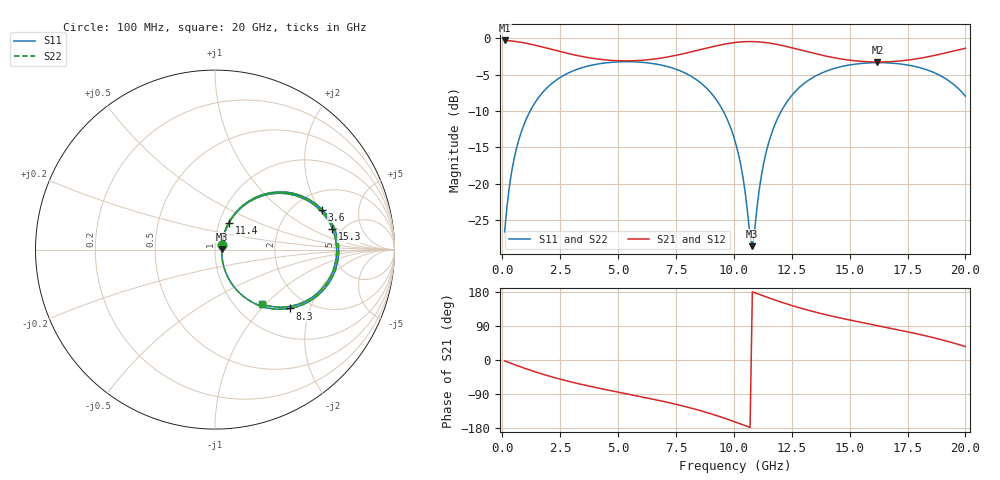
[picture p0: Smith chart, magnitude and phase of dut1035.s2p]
! Touchstone file exported from HFSS 2026.1.0
!  File:  C:/ffzhzh/LocalFiles/Ansys_Project_Files/temp_train_TSV_RDL_1035_1783294648_38704.aedt
!  Generated:  07:52:23 AM Jul  6, 2026
!  Design:  TSV_RDL
!  Project:  temp_train_TSV_RDL_1035_1783294648_38704
! Variables:
!  h_bsmrdl = 2.6um
!  h_ox = 20um
!  h_rdl = 5um
!  h_sub = 50.52um
!  h_tmrdl = 4.42um
!  h_tsv = 50.52um
!  h_via = 3um
!  l_bsmrdl = 940.11um
!  l_sub = 6062.44um
!  l_tmrdl = 685.62um
!  m_sub = 200um
!  pitch = 58.16um
!  r_tsv = 6.22um
!  s_tmrdl = 10um
!  w_bsmrdl = 16.18um
!  w_sub = 500um
!  w_tmrdl = 17.03um
!  x_tsv_center1 = 694.135um
!  x_tsv_center2 = 1650.425um
!  x_tsv_center3 = 2353.075um
!  x_tsv_center4 = 3309.365um
!  x_tsv_center5 = 4012.015um
!  x_tsv_center6 = 4968.305um
# GHz S MA R 50.000000
! Terminal data exported
! Port[1] = TM_RDL1_1_T1
! Port[2] = TM_RDL5_1_T1
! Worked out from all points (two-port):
!   200 points, 100 MHz to 20 GHz, reference 50 ohm
!   highest |S21| = -0.33 dB at 100 MHz (marker M1); lowest = -3.3 dB at 16.2 GHz (marker M2)
!   |S21| within 3 dB of the highest: start of sweep to end of sweep
!   lowest |S11| = -28.5 dB at 10.8 GHz (marker M3), VSWR 1.08, Z = 53.9 + j0.317 ohm
!   |S11| at or under -10 dB: start of sweep to 1.202 GHz; 9.539 GHz to 12.05 GHz (2.512 GHz wide, 23.3 % of centre)
!   |S22| runs from -28.6 to -3.2 dB; largest |S21 - S12| = 1.7e-14
!   S11 on the Smith chart (normalised r, x): 100 MHz: 1.08, +0.06; 3.6 GHz: 2.80, +2.10; 8.3 GHz: 1.60, -1.46; 11.4 GHz: 1.11, +0.34; 15.3 GHz: 4.20, +1.75; 20 GHz: 1.32, -0.95
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0.1  0.04699 36.2  0.9629 -2.4  0.9629 -2.4  0.04699 36.2
! Gamma 0 0 0 0
! Port Impedance 50 0 50 0
0.5  0.1464 62.8  0.9508 -11.6  0.9508 -11.6  0.1464 62.8
1.1  0.2934 57.5  0.9168 -24.7  0.9168 -24.7  0.2934 57.5
2.2  0.4973 40.2  0.8312 -45.6  0.8312 -45.6  0.4973 40.2
3.5  0.6304 21.8  0.7447 -65.5  0.7447 -65.5  0.6304 21.8
3.6  0.6369 20.5  0.7397 -66.9  0.7397 -66.9  0.6369 20.5
5.2  0.6885 1.3  0.698 -87.1  0.698 -87.1  0.6885 1.3
6.8  0.6561 -17.7  0.727 -107.1  0.727 -107.1  0.6561 -17.7
8.3  0.5296 -38.2  0.8141 -129.3  0.8141 -129.3  0.5296 -38.2
9.4  0.3461 -55.8  0.8956 -149.6  0.8956 -149.6  0.3461 -55.8
10.1  0.1849 -64.7  0.9342 -164.5  0.9342 -164.5  0.1849 -64.8
10.4  0.1097 -63.0  0.9431 -171.2  0.9431 -171.2  0.1097 -63.1
10.8  0.03747 4.5  0.9458 179.8  0.9458 179.8  0.03736 4.5
11.1  0.0921 57.9  0.9407 173.0  0.9407 173.0  0.09206 58.0
11.4  0.1662 62.4  0.93 166.3  0.93 166.3  0.1662 62.4
12.2  0.347 52.9  0.8807 149.6  0.8807 149.6  0.347 53.0
13.4  0.5351 34.5  0.7898 128.2  0.7898 128.2  0.5351 34.5
15.3  0.6645 10.1  0.6969 101.8  0.6969 101.8  0.6645 10.1
16.2  0.6782 -0.2  0.6854 90.7  0.6854 90.7  0.6782 -0.2
16.7  0.6751 -5.9  0.6881 84.6  0.6881 84.6  0.6751 -5.9
18.7  0.5747 -30.5  0.7624 57.7  0.7624 57.7  0.5747 -30.5
20  0.3996 -49.2  0.851 35.5  0.851 35.5  0.3996 -49.2
